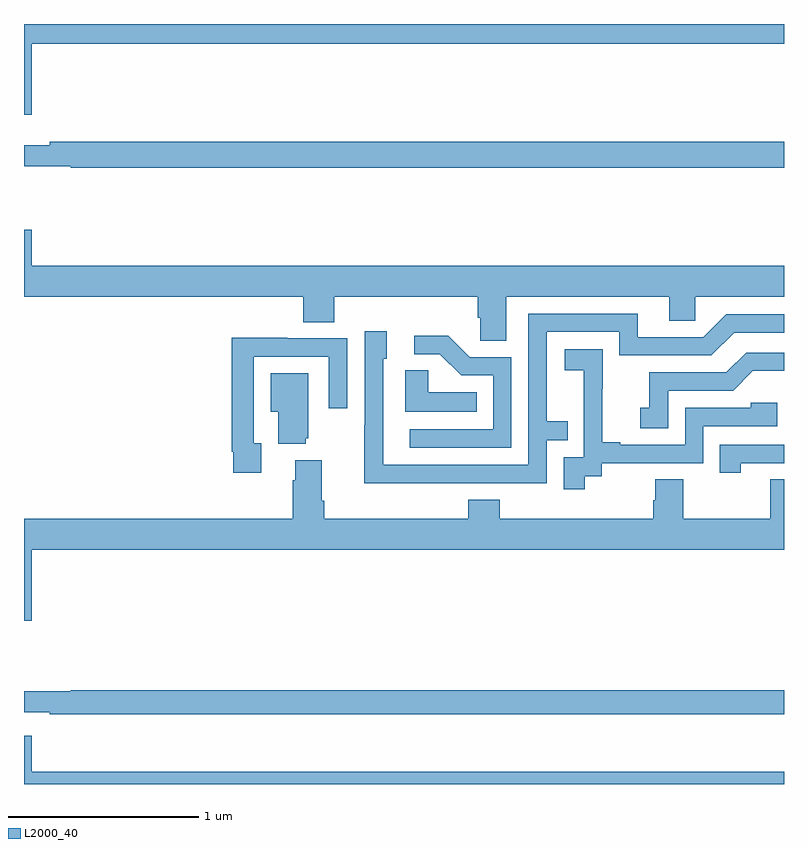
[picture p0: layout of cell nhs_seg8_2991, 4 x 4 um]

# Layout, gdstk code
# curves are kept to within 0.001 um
import gdstk
lib = gdstk.Library(unit=1e-6, precision=1e-09)
def P(c, l, *ps):  # polygons
    for p in ps: c.add(gdstk.Polygon(p, *l))
L2000_40 = (2000, 40)

nhs_seg8_2991 = lib.new_cell('nhs_seg8_2991')
P(nhs_seg8_2991, L2000_40, [(297.04,1153.796),(301,1153.796),(301,1153.9),(297,1153.9),(297,1153.422),(297.04,1153.422)],
  [(301,1153.28),(297.136,1153.28),(297.136,1153.261),(297,1153.261),(297,1153.152),(297.245,1153.152),(297.245,1153.144),(301,1153.144)],
  [(299.539,1152.464),(300.395,1152.464),(300.395,1152.337),(300.534,1152.337),(300.534,1152.464),(301,1152.464),(301,1152.628),(297.04,1152.628),(297.04,1152.817),(297,1152.817),(297,1152.464),(298.469,1152.464),(298.469,1152.331),(298.634,1152.331),(298.634,1152.464),(299.387,1152.464),(299.387,1152.355),(299.4,1152.355),(299.4,1152.232),(299.539,1152.232)],
  [(299.255,1151.484),(299.751,1151.484),(299.751,1151.709),(299.861,1151.709),(299.861,1151.81),(299.751,1151.81),(299.751,1152.279),(300.132,1152.279),(300.132,1152.156),(300.618,1152.156),(300.738,1152.276),(301,1152.276),(301,1152.372),(300.696,1152.372),(300.576,1152.252),(300.229,1152.252),(300.229,1152.375),(299.655,1152.375),(299.655,1151.58),(298.89,1151.58),(298.89,1152.138),(298.909,1152.138),(298.909,1152.283),(298.794,1152.283),(298.794,1151.789),(298.792,1151.789),(298.792,1151.483)],
  [(299.565,1152.147),(299.346,1152.147),(299.233,1152.26),(299.055,1152.26),(299.055,1152.162),(299.189,1152.162),(299.3,1152.051),(299.469,1152.051),(299.469,1151.766),(299.031,1151.766),(299.031,1151.67),(299.565,1151.67)],
  [(298.249,1151.694),(298.209,1151.694),(298.209,1152.15),(298.605,1152.15),(298.605,1151.877),(298.701,1151.877),(298.701,1152.246),(298.385,1152.246),(298.385,1152.248),(298.093,1152.248),(298.093,1151.65),(298.101,1151.65),(298.101,1151.538),(298.249,1151.538)],
  [(299.95,1151.521),(300.042,1151.521),(300.042,1151.589),(300.576,1151.589),(300.576,1151.784),(300.965,1151.784),(300.965,1151.907),(300.825,1151.907),(300.825,1151.88),(300.48,1151.88),(300.48,1151.685),(300.139,1151.685),(300.139,1151.698),(300.044,1151.698),(300.044,1151.981),(300.045,1151.981),(300.045,1152.187),(299.847,1152.187),(299.847,1152.077),(299.945,1152.077),(299.945,1151.849),(299.946,1151.849),(299.946,1151.619),(299.841,1151.619),(299.841,1151.451),(299.95,1151.451)],
  [(300.39,1151.97),(300.732,1151.97),(300.836,1152.074),(301,1152.074),(301,1152.171),(300.8,1152.171),(300.695,1152.066),(300.292,1152.066),(300.292,1151.881),(300.243,1151.881),(300.243,1151.772),(300.39,1151.772)],
  [(299.384,1151.962),(299.127,1151.962),(299.127,1152.077),(299.006,1152.077),(299.006,1151.858),(299.384,1151.858)],
  [(298.484,1151.721),(298.495,1151.721),(298.495,1152.061),(298.298,1152.061),(298.298,1151.858),(298.337,1151.858),(298.337,1151.69),(298.484,1151.69)],
  [(300.772,1151.589),(301,1151.589),(301,1151.685),(300.661,1151.685),(300.661,1151.538),(300.772,1151.538)],
  [(297.04,1151.132),(301,1151.132),(301,1151.504),(300.928,1151.504),(300.928,1151.296),(300.471,1151.296),(300.471,1151.504),(300.323,1151.504),(300.323,1151.394),(300.311,1151.394),(300.311,1151.296),(299.504,1151.296),(299.504,1151.395),(299.339,1151.395),(299.339,1151.296),(298.58,1151.296),(298.58,1151.392),(298.567,1151.392),(298.567,1151.605),(298.427,1151.605),(298.427,1151.498),(298.415,1151.498),(298.415,1151.296),(297,1151.296),(297,1150.758),(297.04,1150.758)],
  [(301,1150.394),(297.245,1150.394),(297.245,1150.387),(297,1150.387),(297,1150.278),(297.136,1150.278),(297.136,1150.266),(301,1150.266)],
  [(301,1149.964),(297.04,1149.964),(297.04,1150.153),(297,1150.153),(297,1149.9),(301,1149.9)])

lib.write_gds('nhs_seg8_2991.gds')
